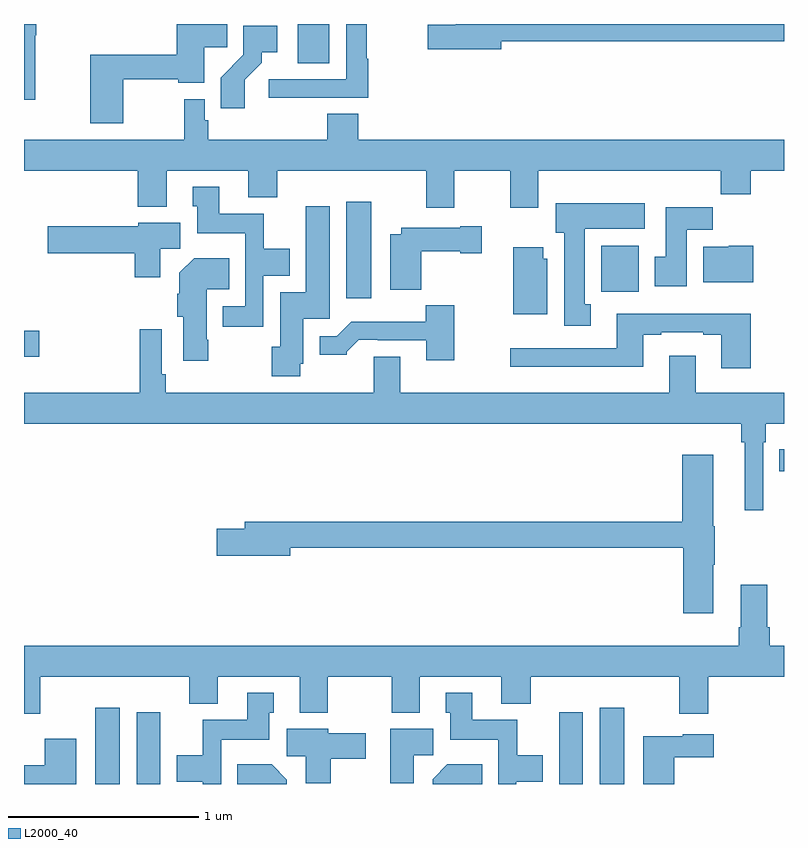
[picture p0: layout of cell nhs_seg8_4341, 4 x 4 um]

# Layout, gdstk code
import gdstk
lib = gdstk.Library(unit=1e-6, precision=1e-09)
def R(c, l, rs):  # rectangles x0, y0, x1, y1
    for r in rs: c.add(gdstk.rectangle(r[:2], r[2:], *l))
def P(c, l, *ps):  # polygons
    for p in ps: c.add(gdstk.Polygon(p, *l))
L2000_40 = (2000, 40)

nhs_seg8_4341 = lib.new_cell('nhs_seg8_4341')
R(nhs_seg8_4341, L2000_40, [(375.374,1151.9,375.505,1152.301), (375.593,1151.9,375.718,1152.277), (377.816,1151.9,377.941,1152.277), (378.029,1151.9,378.16,1152.301), (378.976,1153.546,379,1153.662), (375,1154.15,375.079,1154.285), (376.697,1154.457,376.828,1154.965), (378.038,1154.492,378.235,1154.734), (376.442,1155.694,376.606,1155.9)])
P(nhs_seg8_4341, L2000_40, [(377.512,1155.808),(379,1155.808),(379,1155.9),(377.273,1155.9),(377.273,1155.895),(377.124,1155.895),(377.124,1155.766),(377.512,1155.766)],
  [(375.06,1155.841),(375.065,1155.841),(375.065,1155.9),(375,1155.9),(375,1155.501),(375.06,1155.501)],
  [(375.522,1155.609),(375.812,1155.609),(375.812,1155.59),(375.949,1155.59),(375.949,1155.778),(376.07,1155.778),(376.07,1155.9),(375.805,1155.9),(375.805,1155.737),(375.61,1155.737),(375.61,1155.738),(375.349,1155.738),(375.349,1155.378),(375.522,1155.378)],
  [(376.511,1155.513),(376.811,1155.513),(376.811,1155.716),(376.804,1155.716),(376.804,1155.9),(376.695,1155.9),(376.695,1155.609),(376.287,1155.609),(376.287,1155.511),(376.511,1155.511)],
  [(376.162,1155.607),(376.252,1155.697),(376.252,1155.752),(376.333,1155.752),(376.333,1155.892),(376.155,1155.892),(376.155,1155.737),(376.036,1155.618),(376.036,1155.456),(376.162,1155.456)],
  [(377.265,1155.128),(377.56,1155.128),(377.56,1154.934),(377.707,1154.934),(377.707,1155.128),(378.667,1155.128),(378.667,1155.004),(378.824,1155.004),(378.824,1155.128),(379,1155.128),(379,1155.292),(376.76,1155.292),(376.76,1155.428),(376.595,1155.428),(376.595,1155.292),(375.971,1155.292),(375.971,1155.393),(375.951,1155.393),(375.951,1155.505),(375.843,1155.505),(375.843,1155.292),(375,1155.292),(375,1155.128),(375.599,1155.128),(375.599,1154.939),(375.751,1154.939),(375.751,1155.128),(376.181,1155.128),(376.181,1154.987),(376.334,1154.987),(376.334,1155.128),(377.117,1155.128),(377.117,1154.934),(377.265,1154.934)],
  [(376.26,1154.576),(376.399,1154.576),(376.399,1154.716),(376.263,1154.716),(376.263,1154.902),(376.027,1154.902),(376.027,1155.043),(375.887,1155.043),(375.887,1154.94),(375.911,1154.94),(375.911,1154.798),(376.164,1154.798),(376.164,1154.415),(376.047,1154.415),(376.047,1154.307),(376.26,1154.307)],
  [(377.983,1154.426),(377.95,1154.426),(377.95,1154.822),(378.268,1154.822),(378.268,1154.956),(377.798,1154.956),(377.798,1154.802),(377.843,1154.802),(377.843,1154.313),(377.983,1154.313)],
  [(376.455,1154.112),(376.471,1154.112),(376.471,1154.349),(376.609,1154.349),(376.609,1154.941),(376.484,1154.941),(376.484,1154.488),(376.349,1154.488),(376.349,1154.202),(376.303,1154.202),(376.303,1154.046),(376.455,1154.046)],
  [(378.487,1154.816),(378.626,1154.816),(378.626,1154.935),(378.377,1154.935),(378.377,1154.676),(378.32,1154.676),(378.32,1154.52),(378.487,1154.52)],
  [(375.718,1154.716),(375.823,1154.716),(375.823,1154.854),(375.6,1154.854),(375.6,1154.835),(375.126,1154.835),(375.126,1154.693),(375.584,1154.693),(375.584,1154.568),(375.718,1154.568)],
  [(377.09,1154.705),(377.297,1154.705),(377.297,1154.693),(377.41,1154.693),(377.41,1154.835),(377.297,1154.835),(377.297,1154.827),(376.986,1154.827),(376.986,1154.794),(376.928,1154.794),(376.928,1154.501),(377.09,1154.501)],
  [(378.839,1154.734),(378.708,1154.734),(378.708,1154.728),(378.575,1154.728),(378.575,1154.54),(378.839,1154.54)],
  [(377.755,1154.664),(377.734,1154.664),(377.734,1154.725),(377.576,1154.725),(377.576,1154.372),(377.755,1154.372)],
  [(375.969,1154.239),(375.961,1154.239),(375.961,1154.504),(376.079,1154.504),(376.079,1154.668),(375.896,1154.668),(375.818,1154.59),(375.818,1154.48),(375.806,1154.48),(375.806,1154.358),(375.839,1154.358),(375.839,1154.127),(375.969,1154.127)],
  [(377.265,1154.419),(377.115,1154.419),(377.115,1154.332),(376.723,1154.332),(376.647,1154.256),(376.556,1154.256),(376.556,1154.159),(376.698,1154.159),(376.698,1154.174),(376.762,1154.238),(376.861,1154.238),(376.861,1154.235),(377.117,1154.235),(377.117,1154.13),(377.265,1154.13)],
  [(378.824,1154.374),(378.119,1154.374),(378.119,1154.193),(377.559,1154.193),(377.559,1154.096),(378.259,1154.096),(378.259,1154.265),(378.355,1154.265),(378.355,1154.277),(378.575,1154.277),(378.575,1154.265),(378.671,1154.265),(378.671,1154.088),(378.824,1154.088)],
  [(378.891,1153.7),(378.905,1153.7),(378.905,1153.796),(379,1153.796),(379,1153.96),(378.535,1153.96),(378.535,1154.155),(378.395,1154.155),(378.395,1153.96),(376.981,1153.96),(376.981,1154.15),(376.841,1154.15),(376.841,1153.96),(375.746,1153.96),(375.746,1154.056),(375.726,1154.056),(375.726,1154.293),(375.61,1154.293),(375.61,1153.96),(375,1153.96),(375,1153.796),(378.775,1153.796),(378.775,1153.7),(378.794,1153.7),(378.794,1153.341),(378.891,1153.341)],
  [(378.628,1153.055),(378.636,1153.055),(378.636,1153.257),(378.628,1153.257),(378.628,1153.633),(378.464,1153.633),(378.464,1153.28),(376.163,1153.28),(376.163,1153.244),(376.014,1153.244),(376.014,1153.102),(376.402,1153.102),(376.402,1153.144),(378.47,1153.144),(378.47,1152.798),(378.628,1152.798)],
  [(375.085,1152.464),(375.869,1152.464),(375.869,1152.323),(376.021,1152.323),(376.021,1152.464),(376.451,1152.464),(376.451,1152.275),(376.599,1152.275),(376.599,1152.464),(376.936,1152.464),(376.936,1152.275),(377.083,1152.275),(377.083,1152.464),(377.513,1152.464),(377.513,1152.323),(377.666,1152.323),(377.666,1152.464),(378.449,1152.464),(378.449,1152.27),(378.602,1152.27),(378.602,1152.464),(379,1152.464),(379,1152.628),(378.926,1152.628),(378.926,1152.724),(378.913,1152.724),(378.913,1152.949),(378.773,1152.949),(378.773,1152.724),(378.761,1152.724),(378.761,1152.628),(375,1152.628),(375,1152.27),(375.085,1152.27)],
  [(376.038,1152.134),(376.291,1152.134),(376.291,1152.276),(376.315,1152.276),(376.315,1152.379),(376.175,1152.379),(376.175,1152.238),(375.94,1152.238),(375.94,1152.052),(375.803,1152.052),(375.803,1151.912),(375.942,1151.912),(375.942,1151.9),(376.038,1151.9)],
  [(377.592,1151.912),(377.731,1151.912),(377.731,1152.052),(377.595,1152.052),(377.595,1152.238),(377.359,1152.238),(377.359,1152.379),(377.219,1152.379),(377.219,1152.276),(377.243,1152.276),(377.243,1152.134),(377.496,1152.134),(377.496,1151.9),(377.592,1151.9)],
  [(376.614,1152.032),(376.798,1152.032),(376.798,1152.166),(376.602,1152.166),(376.602,1152.19),(376.382,1152.19),(376.382,1152.046),(376.484,1152.046),(376.484,1151.904),(376.614,1151.904)],
  [(377.05,1152.052),(377.155,1152.052),(377.155,1152.19),(376.928,1152.19),(376.928,1151.904),(377.05,1151.904)],
  [(378.422,1152.041),(378.631,1152.041),(378.631,1152.163),(378.468,1152.163),(378.468,1152.151),(378.26,1152.151),(378.26,1151.9),(378.422,1151.9)],
  [(375.274,1152.139),(375.11,1152.139),(375.11,1151.998),(375,1151.998),(375,1151.9),(375.274,1151.9)],
  [(376.384,1151.923),(376.303,1152.004),(376.123,1152.004),(376.123,1151.9),(376.384,1151.9)],
  [(377.411,1152.004),(377.228,1152.004),(377.15,1151.926),(377.15,1151.9),(377.411,1151.9)])

lib.write_gds('nhs_seg8_4341.gds')
